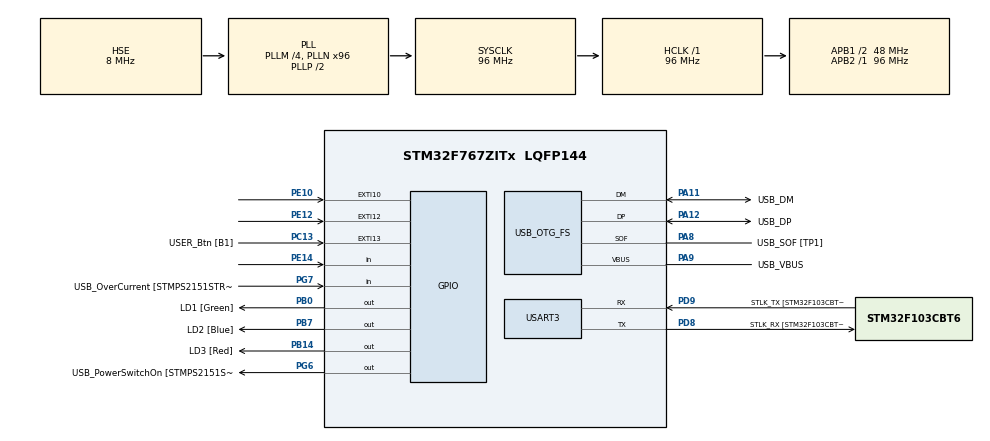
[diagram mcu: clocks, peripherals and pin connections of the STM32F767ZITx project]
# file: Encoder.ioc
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Mcu.Family=STM32F7
Mcu.Name=STM32F767ZITx
Mcu.Package=LQFP144
NVIC.EXTI15_10_IRQn=true\:0\:0\:false\:false\:true\:true\:true
NVIC.PriorityGroup=NVIC_PRIORITYGROUP_4
PA10.GPIO_Label=USB_ID
PA10.Signal=USB_OTG_FS_ID
PA11.GPIO_Label=USB_DM
PA11.Mode=Device_Only
PA11.Signal=USB_OTG_FS_DM
PA12.GPIO_Label=USB_DP
PA12.Mode=Device_Only
PA12.Signal=USB_OTG_FS_DP
PA13.GPIO_Label=TMS
PA13.Mode=Serial_Wire
PA13.Signal=SYS_JTMS-SWDIO
PA14.GPIO_Label=TCK
PA14.Mode=Serial_Wire
PA14.Signal=SYS_JTCK-SWCLK
PA8.GPIO_Label=USB_SOF [TP1]
PA8.Mode=Activate_SOF_FS
PA8.Signal=USB_OTG_FS_SOF
PA9.GPIO_Label=USB_VBUS
PA9.Mode=Activate_VBUS
PA9.Signal=USB_OTG_FS_VBUS
PB0.GPIO_Label=LD1 [Green]
PB0.Signal=GPIO_Output
PB14.GPIO_Label=LD3 [Red]
PB14.Signal=GPIO_Output
PB3.GPIO_Label=SWO
PB3.Signal=SYS_JTDO-SWO
PB7.GPIO_Label=LD2 [Blue]
PB7.Signal=GPIO_Output
PC13.GPIO_Label=USER_Btn [B1]
PC13.GPIO_ModeDefaultEXTI=GPIO_MODE_IT_RISING
PC13.Signal=GPXTI13
PC14/OSC32_IN.Mode=LSE-External-Oscillator
PC14/OSC32_IN.Signal=RCC_OSC32_IN
PC15/OSC32_OUT.Mode=LSE-External-Oscillator
PC15/OSC32_OUT.Signal=RCC_OSC32_OUT
PD8.GPIO_Label=STLK_RX [STM32F103CBT6_PA3]
PD8.Mode=Asynchronous
PD8.Signal=USART3_TX
PD9.GPIO_Label=STLK_TX [STM32F103CBT6_PA2]
PD9.Mode=Asynchronous
PD9.Signal=USART3_RX
PE10.GPIO_ModeDefaultEXTI=GPIO_MODE_IT_RISING
PE10.GPIO_PuPd=GPIO_PULLUP
PE10.Signal=GPXTI10
PE12.GPIO_ModeDefaultEXTI=GPIO_MODE_IT_RISING
PE12.GPIO_PuPd=GPIO_PULLUP
PE12.Signal=GPXTI12
PE14.GPIO_PuPd=GPIO_PULLUP
PE14.Signal=GPIO_Input
PG6.GPIO_Label=USB_PowerSwitchOn [STMPS2151STR_EN]
PG6.Signal=GPIO_Output
PG7.GPIO_Label=USB_OverCurrent [STMPS2151STR_FAULT]
PG7.Signal=GPIO_Input
PH0/OSC_IN.GPIO_Label=MCO [STM32F103CBT6_PA8]
PH0/OSC_IN.Mode=HSE-External-Clock-Source
PH0/OSC_IN.Signal=RCC_OSC_IN
PH1/OSC_OUT.Mode=HSE-External-Clock-Source
PH1/OSC_OUT.Signal=RCC_OSC_OUT
ProjectManager.HeapSize=0x200
ProjectManager.StackSize=0x400
ProjectManager.TargetToolchain=STM32CubeIDE
RCC.48MHZClocksFreq_Value=24000000
RCC.AHBFreq_Value=96000000
RCC.APB1CLKDivider=RCC_HCLK_DIV2
RCC.APB1Freq_Value=48000000
RCC.APB1TimFreq_Value=96000000
RCC.APB2Freq_Value=96000000
RCC.APB2TimFreq_Value=96000000
RCC.CortexFreq_Value=96000000
RCC.HCLKFreq_Value=96000000
RCC.HSE_VALUE=8000000
RCC.HSI_VALUE=16000000
RCC.PLLM=4
RCC.PLLMUL=RCC_PLL_MUL9
RCC.PLLN=96
RCC.PLLQ=4
RCC.PRESCALERUSB=RCC_USBCLKSOURCE_PLL_DIV1_5
RCC.SYSCLKFreq_VALUE=96000000
RCC.SYSCLKSource=RCC_SYSCLKSOURCE_PLLCLK
RCC.SYSCLKSourceVirtual=RCC_SYSCLKSOURCE_PLLCLK
RCC.USBFreq_Value=48000000
RCC.VCOOutputFreq_Value=192000000
USART3.VirtualMode-Asynchronous=VM_ASYNC
USB_OTG_FS.VirtualMode=Device_Only
board=NUCLEO-F767ZI

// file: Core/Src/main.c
/* USER CODE BEGIN Header */
/**
  ******************************************************************************
  * @file           : main.c
  * @brief          : Main program body
  ******************************************************************************
  * @attention
  *
  * <h2><center>&copy; Copyright (c) 2020 STMicroelectronics.
  * All rights reserved.</center></h2>
  *
  * This software component is licensed by ST under BSD 3-Clause license,
  * the "License"; You may not use this file except in compliance with the
  * License. You may obtain a copy of the License at:
  *                        opensource.org/licenses/BSD-3-Clause
  *
  ******************************************************************************
  */
/* USER CODE END Header */

#include "main.h"

UART_HandleTypeDef huart3;

PCD_HandleTypeDef hpcd_USB_OTG_FS;

/* USER CODE BEGIN PV */
uint16_t		intCalled = 0;
volatile int 	encoderValue = 0;
/* USER CODE END PV */

void SystemClock_Config(void);
static void MX_GPIO_Init(void);
static void MX_USART3_UART_Init(void);
static void MX_USB_OTG_FS_PCD_Init(void);

/* USER CODE BEGIN 0 */

void printUART( char* s )
{
	HAL_UART_Transmit(&huart3, (uint8_t *)s, strlen(s), HAL_MAX_DELAY );
}

/* USER CODE END 0 */

int main(void)
{

  /* MCU Configuration--------------------------------------------------------*/

  /* Reset of all peripherals, Initializes the Flash interface and the Systick. */
  HAL_Init();

  /* Configure the system clock */
  SystemClock_Config();

  /* Initialize all configured peripherals */
  MX_GPIO_Init();
  MX_USART3_UART_Init();
  MX_USB_OTG_FS_PCD_Init();

  /* Infinite loop */
  /* USER CODE BEGIN WHILE */
  int lastEncoderValue = 0;
  char buf[20];

  while (1)
  {
	  if ( lastEncoderValue != encoderValue )
	  {
		  lastEncoderValue = encoderValue;
		  sprintf( buf, "%d\r\n", encoderValue );
		  printUART( buf );

	  }
    /* USER CODE END WHILE */

  }
}

void SystemClock_Config(void)
{
  RCC_OscInitTypeDef RCC_OscInitStruct = {0};
  RCC_ClkInitTypeDef RCC_ClkInitStruct = {0};
  RCC_PeriphCLKInitTypeDef PeriphClkInitStruct = {0};

  /** Configure LSE Drive Capability
  */
  HAL_PWR_EnableBkUpAccess();
  /** Configure the main internal regulator output voltage
  */
  __HAL_RCC_PWR_CLK_ENABLE();
  __HAL_PWR_VOLTAGESCALING_CONFIG(PWR_REGULATOR_VOLTAGE_SCALE3);
  /** Initializes the CPU, AHB and APB busses clocks
  */
  RCC_OscInitStruct.OscillatorType = RCC_OSCILLATORTYPE_HSE;
  RCC_OscInitStruct.HSEState = RCC_HSE_BYPASS;
  RCC_OscInitStruct.PLL.PLLState = RCC_PLL_ON;
  RCC_OscInitStruct.PLL.PLLSource = RCC_PLLSOURCE_HSE;
  RCC_OscInitStruct.PLL.PLLM = 4;
  RCC_OscInitStruct.PLL.PLLN = 96;
  RCC_OscInitStruct.PLL.PLLP = RCC_PLLP_DIV2;
  RCC_OscInitStruct.PLL.PLLQ = 4;
  if (HAL_RCC_OscConfig(&RCC_OscInitStruct) != HAL_OK)
  {
    Error_Handler();
  }
  /** Activate the Over-Drive mode
  */
  if (HAL_PWREx_EnableOverDrive() != HAL_OK)
  {
    Error_Handler();
  }
  /** Initializes the CPU, AHB and APB busses clocks
  */
  RCC_ClkInitStruct.ClockType = RCC_CLOCKTYPE_HCLK|RCC_CLOCKTYPE_SYSCLK
                              |RCC_CLOCKTYPE_PCLK1|RCC_CLOCKTYPE_PCLK2;
  RCC_ClkInitStruct.SYSCLKSource = RCC_SYSCLKSOURCE_PLLCLK;
  RCC_ClkInitStruct.AHBCLKDivider = RCC_SYSCLK_DIV1;
  RCC_ClkInitStruct.APB1CLKDivider = RCC_HCLK_DIV2;
  RCC_ClkInitStruct.APB2CLKDivider = RCC_HCLK_DIV1;

  if (HAL_RCC_ClockConfig(&RCC_ClkInitStruct, FLASH_LATENCY_3) != HAL_OK)
  {
    Error_Handler();
  }
  PeriphClkInitStruct.PeriphClockSelection = RCC_PERIPHCLK_USART3|RCC_PERIPHCLK_CLK48;
  PeriphClkInitStruct.Usart3ClockSelection = RCC_USART3CLKSOURCE_PCLK1;
  PeriphClkInitStruct.Clk48ClockSelection = RCC_CLK48SOURCE_PLL;
  if (HAL_RCCEx_PeriphCLKConfig(&PeriphClkInitStruct) != HAL_OK)
  {
    Error_Handler();
  }
}

static void MX_USART3_UART_Init(void)
{

  huart3.Instance = USART3;
  huart3.Init.BaudRate = 115200;
  huart3.Init.WordLength = UART_WORDLENGTH_8B;
  huart3.Init.StopBits = UART_STOPBITS_1;
  huart3.Init.Parity = UART_PARITY_NONE;
  huart3.Init.Mode = UART_MODE_TX_RX;
  huart3.Init.HwFlowCtl = UART_HWCONTROL_NONE;
  huart3.Init.OverSampling = UART_OVERSAMPLING_16;
  huart3.Init.OneBitSampling = UART_ONE_BIT_SAMPLE_DISABLE;
  huart3.AdvancedInit.AdvFeatureInit = UART_ADVFEATURE_NO_INIT;
  if (HAL_UART_Init(&huart3) != HAL_OK)
  {
    Error_Handler();
  }

}

static void MX_USB_OTG_FS_PCD_Init(void)
{

  hpcd_USB_OTG_FS.Instance = USB_OTG_FS;
  hpcd_USB_OTG_FS.Init.dev_endpoints = 6;
  hpcd_USB_OTG_FS.Init.speed = PCD_SPEED_FULL;
  hpcd_USB_OTG_FS.Init.dma_enable = DISABLE;
  hpcd_USB_OTG_FS.Init.phy_itface = PCD_PHY_EMBEDDED;
  hpcd_USB_OTG_FS.Init.Sof_enable = ENABLE;
  hpcd_USB_OTG_FS.Init.low_power_enable = DISABLE;
  hpcd_USB_OTG_FS.Init.lpm_enable = DISABLE;
  hpcd_USB_OTG_FS.Init.vbus_sensing_enable = ENABLE;
  hpcd_USB_OTG_FS.Init.use_dedicated_ep1 = DISABLE;
  if (HAL_PCD_Init(&hpcd_USB_OTG_FS) != HAL_OK)
  {
    Error_Handler();
  }

}

static void MX_GPIO_Init(void)
{
  GPIO_InitTypeDef GPIO_InitStruct = {0};

  /* GPIO Ports Clock Enable */
  __HAL_RCC_GPIOC_CLK_ENABLE();
  __HAL_RCC_GPIOH_CLK_ENABLE();
  __HAL_RCC_GPIOB_CLK_ENABLE();
  __HAL_RCC_GPIOE_CLK_ENABLE();
  __HAL_RCC_GPIOD_CLK_ENABLE();
  __HAL_RCC_GPIOG_CLK_ENABLE();
  __HAL_RCC_GPIOA_CLK_ENABLE();

  /*Configure GPIO pin Output Level */
  HAL_GPIO_WritePin(GPIOB, LD1_Pin|LD3_Pin|LD2_Pin, GPIO_PIN_RESET);

  /*Configure GPIO pin Output Level */
  HAL_GPIO_WritePin(USB_PowerSwitchOn_GPIO_Port, USB_PowerSwitchOn_Pin, GPIO_PIN_RESET);

  /*Configure GPIO pin : USER_Btn_Pin */
  GPIO_InitStruct.Pin = USER_Btn_Pin;
  GPIO_InitStruct.Mode = GPIO_MODE_IT_RISING;
  GPIO_InitStruct.Pull = GPIO_NOPULL;
  HAL_GPIO_Init(USER_Btn_GPIO_Port, &GPIO_InitStruct);

  /*Configure GPIO pins : LD1_Pin LD3_Pin LD2_Pin */
  GPIO_InitStruct.Pin = LD1_Pin|LD3_Pin|LD2_Pin;
  GPIO_InitStruct.Mode = GPIO_MODE_OUTPUT_PP;
  GPIO_InitStruct.Pull = GPIO_NOPULL;
  GPIO_InitStruct.Speed = GPIO_SPEED_FREQ_LOW;
  HAL_GPIO_Init(GPIOB, &GPIO_InitStruct);

  /*Configure GPIO pins : PE10 PE12 */
  GPIO_InitStruct.Pin = GPIO_PIN_10|GPIO_PIN_12;
  GPIO_InitStruct.Mode = GPIO_MODE_IT_RISING;
  GPIO_InitStruct.Pull = GPIO_PULLUP;
  HAL_GPIO_Init(GPIOE, &GPIO_InitStruct);

  /*Configure GPIO pin : PE14 */
  GPIO_InitStruct.Pin = GPIO_PIN_14;
  GPIO_InitStruct.Mode = GPIO_MODE_INPUT;
  GPIO_InitStruct.Pull = GPIO_PULLUP;
  HAL_GPIO_Init(GPIOE, &GPIO_InitStruct);

  /*Configure GPIO pin : USB_PowerSwitchOn_Pin */
  GPIO_InitStruct.Pin = USB_PowerSwitchOn_Pin;
  GPIO_InitStruct.Mode = GPIO_MODE_OUTPUT_PP;
  GPIO_InitStruct.Pull = GPIO_NOPULL;
  GPIO_InitStruct.Speed = GPIO_SPEED_FREQ_LOW;
  HAL_GPIO_Init(USB_PowerSwitchOn_GPIO_Port, &GPIO_InitStruct);

  /*Configure GPIO pin : USB_OverCurrent_Pin */
  GPIO_InitStruct.Pin = USB_OverCurrent_Pin;
  GPIO_InitStruct.Mode = GPIO_MODE_INPUT;
  GPIO_InitStruct.Pull = GPIO_NOPULL;
  HAL_GPIO_Init(USB_OverCurrent_GPIO_Port, &GPIO_InitStruct);

  /* EXTI interrupt init*/
  HAL_NVIC_SetPriority(EXTI15_10_IRQn, 0, 0);
  HAL_NVIC_EnableIRQ(EXTI15_10_IRQn);

}

/* USER CODE BEGIN 4 */

volatile int clkFlag = 0;
volatile int dtFlag = 0;

void pinClk()
{
	int pinClkVal = HAL_GPIO_ReadPin( GPIOE, GPIO_PIN_10 );
	int pinDtVal = HAL_GPIO_ReadPin( GPIOE, GPIO_PIN_12 );

	// Check that we have both pins at detent (HIGH) and that we are expecting detent on this pin's rising edge
	if( pinClkVal == GPIO_PIN_SET && pinDtVal == GPIO_PIN_SET && clkFlag )
	{
		encoderValue++;
	    dtFlag = 0;
	    clkFlag = 0;
	}

	// Signal that we're expecting pinB to signal the transition to detent from free rotation
	else if ( pinClkVal == GPIO_PIN_SET )
		dtFlag = 1;

}

void pinDt()
{
	int pinClkVal = HAL_GPIO_ReadPin( GPIOE, GPIO_PIN_10 );
	int pinDtVal = HAL_GPIO_ReadPin( GPIOE, GPIO_PIN_12 );

	// Check that we have both pins at detent (HIGH) and that we are expecting detent on this pin's rising edge
	if( pinClkVal == GPIO_PIN_SET && pinDtVal == GPIO_PIN_SET && dtFlag )
	{
		encoderValue--;
	    dtFlag = 0;
	    clkFlag = 0;
	}

	// Signal that we're expecting pinB to signal the transition to detent from free rotation
	else if ( pinDtVal == GPIO_PIN_SET )
		clkFlag = 1;

}

void HAL_GPIO_EXTI_Callback(uint16_t GPIO_Pin)
{
  UNUSED(GPIO_Pin);

  if ( GPIO_Pin == GPIO_PIN_10 )
	  pinClk();
  else if ( GPIO_Pin == GPIO_PIN_12 )
	  pinDt();

}

/*
void PinA(){
  reading = PIND & 0xC; // read all eight pin values then strip away all but pinA and pinB's values
  if(reading == B00001100 && aFlag) { //check that we have both pins at detent (HIGH) and that we are expecting detent on this pin's rising edge
    changeDisplay( -1 );
    bFlag = 0; //reset flags for the next turn
    aFlag = 0; //reset flags for the next turn
  }
  else if (reading == B00000100) bFlag = 1; //signal that we're expecting pinB to signal the transition to detent from free rotation
}

void PinB(){
  reading = PIND & 0xC; //read all eight pin values then strip away all but pinA and pinB's values
  if (reading == B00001100 && bFlag) { //check that we have both pins at detent (HIGH) and that we are expecting detent on this pin's rising edge
    changeDisplay( 1 );
    bFlag = 0; //reset flags for the next turn
    aFlag = 0; //reset flags for the next turn
  }
  else if (reading == B00001000) aFlag = 1; //signal that we're expecting pinA to signal the transition to detent from free rotation
}
*/

/* USER CODE END 4 */

void Error_Handler(void)
{
}

/************************ (C) COPYRIGHT STMicroelectronics *****END OF FILE****/
